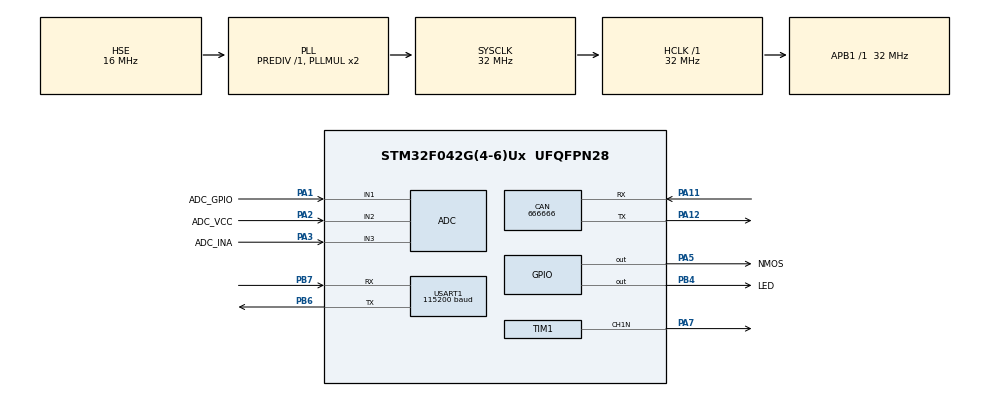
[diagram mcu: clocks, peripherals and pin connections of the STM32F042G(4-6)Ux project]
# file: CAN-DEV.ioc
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ADC.ClockPrescaler=ADC_CLOCK_ASYNC_DIV1
ADC.ContinuousConvMode=ENABLE
ADC.DMAContinuousRequests=ENABLE
ADC.EOCSelection=ADC_EOC_SINGLE_CONV
ADC.SamplingTime=ADC_SAMPLETIME_55CYCLES_5
CAN.BS1=CAN_BS1_1TQ
CAN.BS2=CAN_BS2_1TQ
CAN.CalculateBaudRate=666666
CAN.CalculateTimeBit=1500
CAN.CalculateTimeQuantum=500.0
Dma.ADC.0.Direction=DMA_PERIPH_TO_MEMORY
Dma.ADC.0.Instance=DMA1_Channel1
Dma.ADC.0.MemDataAlignment=DMA_MDATAALIGN_WORD
Dma.ADC.0.MemInc=DMA_MINC_ENABLE
Dma.ADC.0.Mode=DMA_CIRCULAR
Dma.ADC.0.PeriphDataAlignment=DMA_PDATAALIGN_WORD
Dma.ADC.0.PeriphInc=DMA_PINC_DISABLE
Dma.ADC.0.Priority=DMA_PRIORITY_LOW
Dma.Request0=ADC
Mcu.Family=STM32F0
Mcu.Name=STM32F042G(4-6)Ux
Mcu.Package=UFQFPN28
NVIC.ADC1_IRQn=true\:0\:0\:false\:false\:true\:true\:true\:true
NVIC.DMA1_Channel1_IRQn=true\:0\:0\:false\:false\:true\:false\:true\:true
PA1.GPIO_Label=ADC_GPIO
PA1.Mode=IN1
PA1.Signal=ADC_IN1
PA11.Mode=CAN_Activate
PA11.Signal=CAN_RX
PA12.Mode=CAN_Activate
PA12.Signal=CAN_TX
PA13.Mode=Serial_Wire
PA13.Signal=SYS_SWDIO
PA14.Mode=Serial_Wire
PA14.Signal=SYS_SWCLK
PA2.GPIO_Label=ADC_VCC
PA2.Mode=IN2
PA2.Signal=ADC_IN2
PA3.GPIO_Label=ADC_INA
PA3.Mode=IN3
PA3.Signal=ADC_IN3
PA5.GPIO_Label=NMOS
PA5.Signal=GPIO_Output
PA7.Mode=PWM Generation1 CH1N
PA7.Signal=TIM1_CH1N
PB4.GPIO_Label=LED
PB4.Signal=GPIO_Output
PB6.Mode=Asynchronous
PB6.Signal=USART1_TX
PB7.Mode=Asynchronous
PB7.Signal=USART1_RX
PF0-OSC_IN.Mode=HSE-External-Oscillator
PF0-OSC_IN.Signal=RCC_OSC_IN
PF1-OSC_OUT.Mode=HSE-External-Oscillator
PF1-OSC_OUT.Signal=RCC_OSC_OUT
ProjectManager.HeapSize=0x200
ProjectManager.StackSize=0x400
ProjectManager.TargetToolchain=STM32CubeIDE
RCC.AHBFreq_Value=32000000
RCC.APB1Freq_Value=32000000
RCC.APB1TimFreq_Value=32000000
RCC.HCLKFreq_Value=32000000
RCC.HSE_VALUE=16000000
RCC.PLLSourceVirtual=RCC_PLLSOURCE_HSE
RCC.SYSCLKFreq_VALUE=32000000
RCC.SYSCLKSource=RCC_SYSCLKSOURCE_PLLCLK
TIM1.AutoReloadPreload=TIM_AUTORELOAD_PRELOAD_ENABLE
TIM1.Channel-PWM\ Generation1\ CH1N=TIM_CHANNEL_1
TIM1.OC1Preload_PWM=DISABLE
TIM1.OCNIdleState_1=TIM_OCNIDLESTATE_SET
TIM1.OCNPolarity_1=TIM_OCNPOLARITY_HIGH
TIM1.Prescaler=0
TIM1.Pulse-PWM\ Generation1\ CH1N=0
USART1.BaudRate=115200
USART1.VirtualMode-Asynchronous=VM_ASYNC
VP_ADC_TempSens_Input.Mode=IN-TempSens
VP_ADC_Vref_Input.Mode=IN-Vrefint
VP_SYS_VS_PINREMAP.Mode=PINREMAP
VP_TIM1_VS_ClockSourceINT.Mode=Internal
board=custom

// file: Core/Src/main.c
/* USER CODE BEGIN Header */
/**
  ******************************************************************************
  * @file           : main.c
  * @brief          : Main program body
  ******************************************************************************
  * @attention
  *
  * Copyright (c) 2024 STMicroelectronics.
  * All rights reserved.
  *
  * This software is licensed under terms that can be found in the LICENSE file
  * in the root directory of this software component.
  * If no LICENSE file comes with this software, it is provided AS-IS.
  *
  ******************************************************************************
  */
/* USER CODE END Header */
#include "main.h"
#include "adc.h"
#include "can.h"
#include "dma.h"
#include "tim.h"
#include "usart.h"
#include "gpio.h"

/* USER CODE BEGIN Includes */
#include <stdio.h>
#include <stdarg.h>
#include <string.h>

/* USER CODE END Includes */

/* USER CODE BEGIN PD */
#define TIMER_CLK 32 //MHz
#define CCMR1_MAX 65535

#define INA_OFFSET 1995
#define VCC 5000
/* USER CODE END PD */

/* USER CODE BEGIN PV */
typedef struct CAN_rx{
	uint32_t PWM_us_period;
	uint32_t PWM_us_duty;
	uint8_t NMOS;
	uint16_t CAN_update_Hz;

}input_t;
typedef struct CAN_tx{
	uint32_t PWM_us_period;
	uint32_t PWM_us_duty;
	uint8_t NMOS; //[0-1]
	uint16_t CAN_update_Hz; //[Hz]

	int32_t ENCODER_ADC; //[mV]
	int32_t LOADCELL; //[gram]
	int32_t CURRENT; //[mA]
	int32_t VOLTAGE; //[mV]
	int32_t TEMPERATURE; //[k]

	int32_t UNIQUE_ID;
	char NAME[10];

}output_t;
/* USER CODE END PV */

void SystemClock_Config(void);

/* USER CODE BEGIN 0 */
char string[100];
void vprint(const char *fmt, va_list argp)
{

    if(0 < vsprintf(string,fmt,argp)) // build string
    {
        HAL_UART_Transmit(&huart1, (uint8_t*)string, strlen(string), 0xfffffff); // send message via UART
    }
}
void my_printf(const char *fmt, ...) // custom printf() function
{
    va_list argp;
    va_start(argp, fmt);
    vprint(fmt, argp);
    va_end(argp);
}

void PWM(uint32_t period_us, uint32_t duty_us){
	uint32_t prescale = ((TIMER_CLK * period_us)/ ((CCMR1_MAX+1)));
	uint32_t AAR = period_us*TIMER_CLK/(prescale+1);

	TIM1->CCR1 = duty_us*AAR/period_us; //pulse width
	TIM1->ARR = AAR;
	TIM1->PSC =  prescale;

	//htim1.Init.Prescaler = prescale;
	//htim1.Init.Period = ccmr1;
}

/* USER CODE END 0 */

int main(void)
{

  /* MCU Configuration--------------------------------------------------------*/

  /* Reset of all peripherals, Initializes the Flash interface and the Systick. */
  HAL_Init();

  /* Configure the system clock */
  SystemClock_Config();

  /* Initialize all configured peripherals */
  MX_GPIO_Init();
  MX_DMA_Init();
  MX_ADC_Init();
  MX_CAN_Init();
  MX_TIM1_Init();
  MX_USART1_UART_Init();
  /* USER CODE BEGIN 2 */

  uint32_t value[5];
  HAL_ADC_Start_DMA(&hadc, value, 5); // start adc in DMA mode

  //uint32_t t_us = 20000; //50Hz
  //uint32_t t_us_duty = 1500;

  HAL_TIMEx_PWMN_Start(&htim1, TIM_CHANNEL_1);

  input_t CAN_in = {
	  .CAN_update_Hz = 0,
	  .NMOS = 1,
	  .PWM_us_duty = 2000,
	  .PWM_us_period = 2000
  };

  /* USER CODE END 2 */

  /* Infinite loop */
  /* USER CODE BEGIN WHILE */
  while (1)
  {
	  //HAL_GPIO_TogglePin(NMOS_GPIO_Port, NMOS_Pin);

	  HAL_GPIO_TogglePin(LED_GPIO_Port, LED_Pin);

	  uint32_t temp_VCC = value[1]*43; //5V = 120mV measured
	  float temp_INA_gram = (float)(value[2]-INA_OFFSET);//*VCC*3300.0f/4095.0f;//*3300/4095*VCC/2;
	  my_printf("%UL\t%d\n", (int32_t)temp_INA_gram, temp_VCC);

	  PWM(CAN_in.PWM_us_period, CAN_in.PWM_us_duty);
	  HAL_GPIO_WritePin(NMOS_GPIO_Port, NMOS_Pin, CAN_in.NMOS);

	  HAL_Delay(1);
	  //PWM(CAN_in.PWM_us_period, 0);
	  //HAL_Delay(500);
    /* USER CODE END WHILE */

  }
}

void SystemClock_Config(void)
{
  RCC_OscInitTypeDef RCC_OscInitStruct = {0};
  RCC_ClkInitTypeDef RCC_ClkInitStruct = {0};
  RCC_PeriphCLKInitTypeDef PeriphClkInit = {0};

  /** Initializes the RCC Oscillators according to the specified parameters
  * in the RCC_OscInitTypeDef structure.
  */
  RCC_OscInitStruct.OscillatorType = RCC_OSCILLATORTYPE_HSI14|RCC_OSCILLATORTYPE_HSE;
  RCC_OscInitStruct.HSEState = RCC_HSE_ON;
  RCC_OscInitStruct.HSI14State = RCC_HSI14_ON;
  RCC_OscInitStruct.HSI14CalibrationValue = 16;
  RCC_OscInitStruct.PLL.PLLState = RCC_PLL_ON;
  RCC_OscInitStruct.PLL.PLLSource = RCC_PLLSOURCE_HSE;
  RCC_OscInitStruct.PLL.PLLMUL = RCC_PLL_MUL2;
  RCC_OscInitStruct.PLL.PREDIV = RCC_PREDIV_DIV1;
  if (HAL_RCC_OscConfig(&RCC_OscInitStruct) != HAL_OK)
  {
    Error_Handler();
  }

  /** Initializes the CPU, AHB and APB buses clocks
  */
  RCC_ClkInitStruct.ClockType = RCC_CLOCKTYPE_HCLK|RCC_CLOCKTYPE_SYSCLK
                              |RCC_CLOCKTYPE_PCLK1;
  RCC_ClkInitStruct.SYSCLKSource = RCC_SYSCLKSOURCE_PLLCLK;
  RCC_ClkInitStruct.AHBCLKDivider = RCC_SYSCLK_DIV1;
  RCC_ClkInitStruct.APB1CLKDivider = RCC_HCLK_DIV1;

  if (HAL_RCC_ClockConfig(&RCC_ClkInitStruct, FLASH_LATENCY_1) != HAL_OK)
  {
    Error_Handler();
  }
  PeriphClkInit.PeriphClockSelection = RCC_PERIPHCLK_USART1;
  PeriphClkInit.Usart1ClockSelection = RCC_USART1CLKSOURCE_PCLK1;
  if (HAL_RCCEx_PeriphCLKConfig(&PeriphClkInit) != HAL_OK)
  {
    Error_Handler();
  }
}

void Error_Handler(void)
{
  __disable_irq();
  while (1)
  {
  }
}
